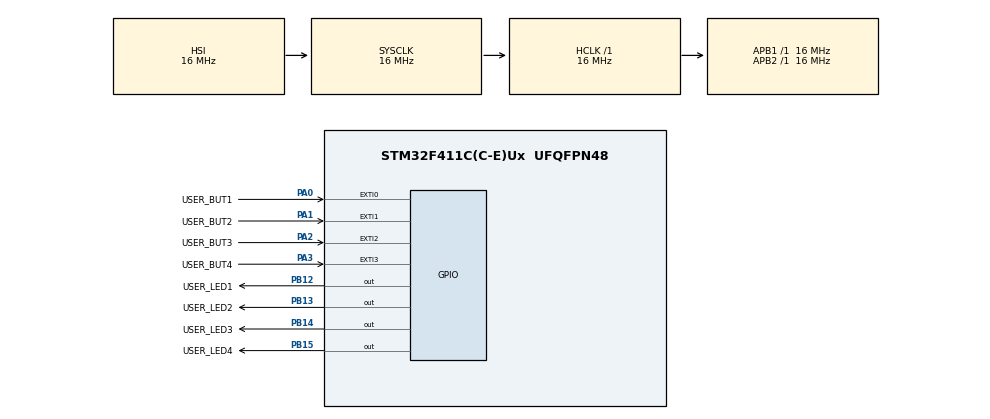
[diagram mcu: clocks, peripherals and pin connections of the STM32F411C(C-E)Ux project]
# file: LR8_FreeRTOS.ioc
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FREERTOS.Tasks01=defaultTask,24,128,StartDefaultTask,Default,NULL,Dynamic,NULL,NULL
Mcu.Family=STM32F4
Mcu.Name=STM32F411C(C-E)Ux
Mcu.Package=UFQFPN48
NVIC.EXTI0_IRQn=true\:5\:0\:false\:false\:true\:true\:true\:true\:true
NVIC.EXTI1_IRQn=true\:5\:0\:false\:false\:true\:true\:true\:true\:true
NVIC.EXTI2_IRQn=true\:5\:0\:false\:false\:true\:true\:true\:true\:true
NVIC.EXTI3_IRQn=true\:5\:0\:false\:false\:true\:true\:true\:true\:true
NVIC.PriorityGroup=NVIC_PRIORITYGROUP_4
PA0-WKUP.GPIO_Label=USER_BUT1
PA0-WKUP.GPIO_PuPd=GPIO_PULLUP
PA0-WKUP.Signal=GPXTI0
PA1.GPIO_Label=USER_BUT2
PA1.GPIO_PuPd=GPIO_PULLUP
PA1.Signal=GPXTI1
PA2.GPIO_Label=USER_BUT3
PA2.GPIO_PuPd=GPIO_PULLUP
PA2.Signal=GPXTI2
PA3.GPIO_Label=USER_BUT4
PA3.GPIO_PuPd=GPIO_PULLUP
PA3.Signal=GPXTI3
PB12.GPIO_Label=USER_LED1
PB12.Signal=GPIO_Output
PB13.GPIO_Label=USER_LED2
PB13.Signal=GPIO_Output
PB14.GPIO_Label=USER_LED3
PB14.Signal=GPIO_Output
PB15.GPIO_Label=USER_LED4
PB15.Signal=GPIO_Output
ProjectManager.HeapSize=0x200
ProjectManager.StackSize=0x400
ProjectManager.TargetToolchain=STM32CubeIDE
RCC.AHBFreq_Value=16000000
RCC.APB1Freq_Value=16000000
RCC.APB2Freq_Value=16000000
RCC.CortexFreq_Value=16000000
RCC.HSE_VALUE=25000000
RCC.HSI_VALUE=16000000
RCC.LSE_VALUE=32768
RCC.SYSCLKFreq_VALUE=16000000
RCC.VCOOutputFreq_Value=192000000
VP_FREERTOS_VS_CMSIS_V2.Mode=CMSIS_V2
board=custom

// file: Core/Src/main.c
/* USER CODE BEGIN Header */
/*
   Лабораторна робота 8.
   Дослідження процесів передачі повідомлень і взаємодії між
   потоками у операційній системі на прикладі FreeRTOS

   Підключення: 1.1 GND - [-LED+] - [резистор 325R] - PB15
   	   	   	   	1.2 GND - [-LED+] - [резистор 325R] - PB14
   	   	   	   	1.3 GND - [-LED+] - [резистор 325R] - PB13
   	   	   	   	1.4 GND - [-LED+] - [резистор 325R] - PB12

                2.1 GND - [-Key+] - PA0 (Pull_up)
                2.2 GND - [-Key+] - PA1 (Pull_up)
                2.3 GND - [-Key+] - PA2 (Pull_up)
                2.4 GND - [-Key+] - PA3 (Pull_up)
  */
/* USER CODE END Header */
#include "main.h"

/*Універсальна оболонка (wrapper) від ARM. Дозволяє коду бути сумісним з різними операційними системами,
 * використовуючи стандартні команди (наприклад, osDelay).*/
#include "cmsis_os.h"

/*"Серце" системи. Містить головні налаштування ядра, типи даних та конфігурацію всієї ОС
 * для мікроконтролера.*/
#include "FreeRTOS.h"

/*Менеджер потоків. Відповідає за створення задач (xTaskCreate), їхні пріоритети та паузи в роботі (vTaskDelay).*/
#include "queue.h"

/*Поштова скринька. Дозволяє кнопкам безпечно передавати нові значення затримок у потоки світлодіодів.*/
#include "task.h"

/*Регулювальник руху. Надає семафори, які змушують світлодіоди вмикатися суворо по черзі, передаючи "естафету".*/
#include "semphr.h"

/* USER CODE BEGIN PV */

// Семафори для передачі черги
SemaphoreHandle_t xSemNext[4]; // Семафори для синхронізації

// Оголошуємо черги для кожного світлодіода
QueueHandle_t xQueueLED[4];

// Затримки за замовчуванням для кожного кольору (мс)
uint32_t currentDelays[4] = {500, 500, 500, 500};

// Масив пінів для зручності
uint16_t ledPins[4] = {USER_LED1_Pin, USER_LED2_Pin, USER_LED3_Pin, USER_LED4_Pin};
/* USER CODE END PV */

void SystemClock_Config(void);
static void MX_GPIO_Init(void);
void StartDefaultTask(void *argument);

/* USER CODE BEGIN 0 */

// Функція потоку (Task)
// Працює, передаючі номер індексу через pvParameters
void LedTask(void *pvParameters) {
    uint32_t index = (uint32_t)pvParameters;
    uint32_t next_index = (index + 1) % 4; // Хто йде наступним
    uint32_t localDelay = 100;             // Початкова тривалість фази

    for (;;) {
        // Чекаємо на свою чергу (семафор)
        xSemaphoreTake(xSemNext[index], portMAX_DELAY);

        // Перевіряємо, чи натискали кнопку (оновлюємо час фази)
        if (xQueueReceive(xQueueLED[index], &localDelay, 0) == pdPASS) {
        }

        // Вмикаємо світлодіод (Фаза активна)
        HAL_GPIO_WritePin(GPIOB, ledPins[index], GPIO_PIN_SET);
        vTaskDelay(pdMS_TO_TICKS(localDelay));
        HAL_GPIO_WritePin(GPIOB, ledPins[index], GPIO_PIN_RESET);

        // Передаємо естафету наступному світлодіоду
        xSemaphoreGive(xSemNext[next_index]);
    }
}

// Функція натискання кнопок (EXTI Callback)
void HAL_GPIO_EXTI_Callback(uint16_t GPIO_Pin) {
    BaseType_t xHigherPriorityTaskWoken = pdFALSE;
    uint32_t newDelay;

    // Визначаємо, яка кнопка натиснута, і надсилаємо нову затримку
    if (GPIO_Pin == USER_BUT1_Pin) {
        newDelay = 2500; // Для PD12
        xQueueSendFromISR(xQueueLED[0], &newDelay, &xHigherPriorityTaskWoken);
    } else if (GPIO_Pin == USER_BUT2_Pin) {
        newDelay = 2000; // Для PD13
        xQueueSendFromISR(xQueueLED[1], &newDelay, &xHigherPriorityTaskWoken);
    } else if (GPIO_Pin == USER_BUT3_Pin) {
        newDelay = 1500; // Для PD14
        xQueueSendFromISR(xQueueLED[2], &newDelay, &xHigherPriorityTaskWoken);
    } else if (GPIO_Pin == USER_BUT4_Pin) {
        newDelay = 1000; // Повільне миготіння для PD15
        xQueueSendFromISR(xQueueLED[3], &newDelay, &xHigherPriorityTaskWoken);
    }

    portYIELD_FROM_ISR(xHigherPriorityTaskWoken);
}
/* USER CODE END 0 */

int main(void)
{

  /* MCU Configuration--------------------------------------------------------*/

  /* Reset of all peripherals, Initializes the Flash interface and the Systick. */
  HAL_Init();

  /* Configure the system clock */
  SystemClock_Config();

  /* Initialize all configured peripherals */
  MX_GPIO_Init();

  /* Init scheduler */
  osKernelInitialize();

  /* USER CODE BEGIN RTOS_QUEUES */

  // Створюємо 4 черги
  for(int i = 0; i < 4; i++) {
      xQueueLED[i] = xQueueCreate(1, sizeof(uint32_t));
      xSemNext[i] = xSemaphoreCreateBinary(); // Створюємо бінарні семафори
  }

  /* USER CODE END RTOS_QUEUES */

  /* Create the thread(s) */
  /* creation of defaultTask */
  //defaultTaskHandle = osThreadNew(StartDefaultTask, NULL, &defaultTask_attributes);

  /* USER CODE BEGIN RTOS_THREADS */

  // Створюємо 4 потоки, передаючи i як аргумент
  xTaskCreate(LedTask, "RED", 128, (void*)0, 1, NULL);
  xTaskCreate(LedTask, "YELLOW", 128, (void*)1, 1, NULL);
  xTaskCreate(LedTask, "GREEN", 128, (void*)2, 1, NULL);
  xTaskCreate(LedTask, "BLUE", 128, (void*)3, 1, NULL);

  /* USER CODE END RTOS_THREADS */

  /* Start scheduler */
  //osKernelStart();

  /* We should never get here as control is now taken by the scheduler */

  /* Infinite loop */
  /* USER CODE BEGIN WHILE */

  xSemaphoreGive(xSemNext[0]); // Даємо старт першому світлодіоду

  vTaskStartScheduler(); // Запускаємо планувальник

  while (1)
  {
    /* USER CODE END WHILE */

  }
}

void SystemClock_Config(void)
{
  RCC_OscInitTypeDef RCC_OscInitStruct = {0};
  RCC_ClkInitTypeDef RCC_ClkInitStruct = {0};

  /** Configure the main internal regulator output voltage
  */
  __HAL_RCC_PWR_CLK_ENABLE();
  __HAL_PWR_VOLTAGESCALING_CONFIG(PWR_REGULATOR_VOLTAGE_SCALE1);

  /** Initializes the RCC Oscillators according to the specified parameters
  * in the RCC_OscInitTypeDef structure.
  */
  RCC_OscInitStruct.OscillatorType = RCC_OSCILLATORTYPE_HSI;
  RCC_OscInitStruct.HSIState = RCC_HSI_ON;
  RCC_OscInitStruct.HSICalibrationValue = RCC_HSICALIBRATION_DEFAULT;
  RCC_OscInitStruct.PLL.PLLState = RCC_PLL_NONE;
  if (HAL_RCC_OscConfig(&RCC_OscInitStruct) != HAL_OK)
  {
    Error_Handler();
  }

  /** Initializes the CPU, AHB and APB buses clocks
  */
  RCC_ClkInitStruct.ClockType = RCC_CLOCKTYPE_HCLK|RCC_CLOCKTYPE_SYSCLK
                              |RCC_CLOCKTYPE_PCLK1|RCC_CLOCKTYPE_PCLK2;
  RCC_ClkInitStruct.SYSCLKSource = RCC_SYSCLKSOURCE_HSI;
  RCC_ClkInitStruct.AHBCLKDivider = RCC_SYSCLK_DIV1;
  RCC_ClkInitStruct.APB1CLKDivider = RCC_HCLK_DIV1;
  RCC_ClkInitStruct.APB2CLKDivider = RCC_HCLK_DIV1;

  if (HAL_RCC_ClockConfig(&RCC_ClkInitStruct, FLASH_LATENCY_0) != HAL_OK)
  {
    Error_Handler();
  }
}

static void MX_GPIO_Init(void)
{
  GPIO_InitTypeDef GPIO_InitStruct = {0};

  /* GPIO Ports Clock Enable */
  __HAL_RCC_GPIOA_CLK_ENABLE();
  __HAL_RCC_GPIOB_CLK_ENABLE();

  /*Configure GPIO pin Output Level */
  HAL_GPIO_WritePin(GPIOB, USER_LED1_Pin|USER_LED2_Pin|USER_LED3_Pin|USER_LED4_Pin, GPIO_PIN_RESET);

  /*Configure GPIO pins : USER_BUT1_Pin USER_BUT2_Pin USER_BUT3_Pin USER_BUT4_Pin */
  GPIO_InitStruct.Pin = USER_BUT1_Pin|USER_BUT2_Pin|USER_BUT3_Pin|USER_BUT4_Pin;
  GPIO_InitStruct.Mode = GPIO_MODE_IT_RISING;
  GPIO_InitStruct.Pull = GPIO_PULLUP;
  HAL_GPIO_Init(GPIOA, &GPIO_InitStruct);

  /*Configure GPIO pins : USER_LED1_Pin USER_LED2_Pin USER_LED3_Pin USER_LED4_Pin */
  GPIO_InitStruct.Pin = USER_LED1_Pin|USER_LED2_Pin|USER_LED3_Pin|USER_LED4_Pin;
  GPIO_InitStruct.Mode = GPIO_MODE_OUTPUT_PP;
  GPIO_InitStruct.Pull = GPIO_NOPULL;
  GPIO_InitStruct.Speed = GPIO_SPEED_FREQ_LOW;
  HAL_GPIO_Init(GPIOB, &GPIO_InitStruct);

  /* EXTI interrupt init*/
  HAL_NVIC_SetPriority(EXTI0_IRQn, 5, 0);
  HAL_NVIC_EnableIRQ(EXTI0_IRQn);

  HAL_NVIC_SetPriority(EXTI1_IRQn, 5, 0);
  HAL_NVIC_EnableIRQ(EXTI1_IRQn);

  HAL_NVIC_SetPriority(EXTI2_IRQn, 5, 0);
  HAL_NVIC_EnableIRQ(EXTI2_IRQn);

  HAL_NVIC_SetPriority(EXTI3_IRQn, 5, 0);
  HAL_NVIC_EnableIRQ(EXTI3_IRQn);

}

void StartDefaultTask(void *argument)
{
  for(;;)
  {
    osDelay(1);
  }
}

void Error_Handler(void)
{
  __disable_irq();
  while (1)
  {
  }
}
